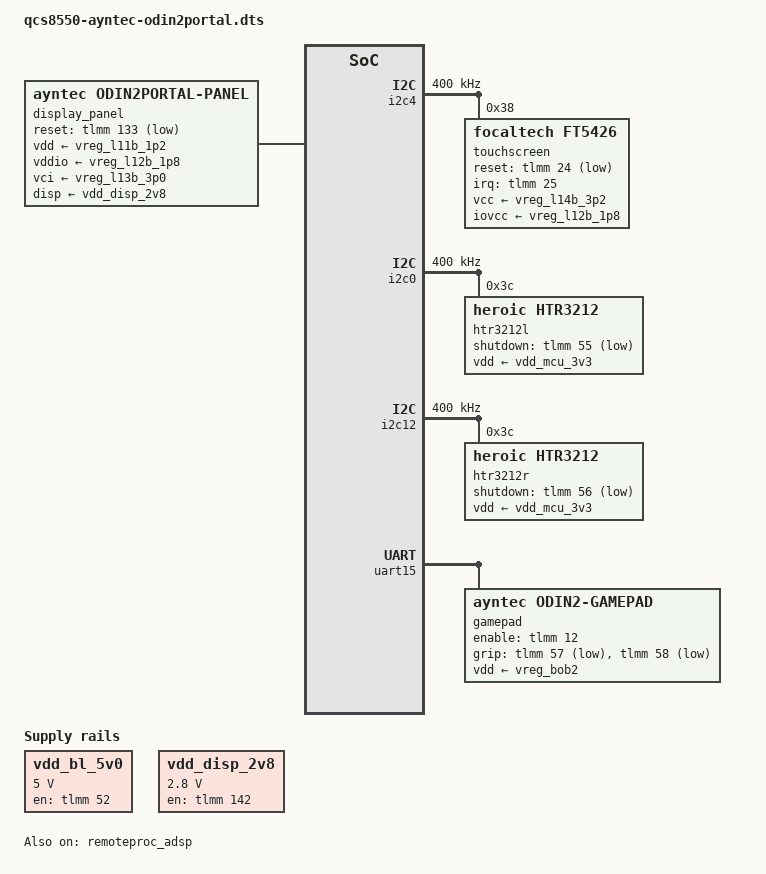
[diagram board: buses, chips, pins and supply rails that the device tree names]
// SPDX-License-Identifier: BSD-3-Clause
/*
 * Copyright (c) 2025, Teguh Sobirin.
 */

/dts-v1/;

#include <dt-bindings/gpio/gpio.h>
#include <dt-bindings/interrupt-controller/irq.h>
#include <dt-bindings/input/qcom,hv-haptics.h>
#include "qcs8550-ayntec-common.dtsi"

&{/} {
	model = "AYN Odin 2 Portal";
	compatible = "ayntec,odin2portal", "qcom,qcs8550", "qcom,sm8550";

	vdd_bl_5v0: vdd-bl-5v0-regulator {
		compatible = "regulator-fixed";
		regulator-name = "vdd_bl_5v0";

		regulator-min-microvolt = <5000000>;
		regulator-max-microvolt = <5000000>;

		gpio = <&tlmm 52 GPIO_ACTIVE_HIGH>;
		enable-active-high;
	};

	vdd_disp_2v8: vdd-disp-2v8-regulator {
		compatible = "regulator-fixed";
		regulator-name = "vdd_disp_2v8";

		regulator-min-microvolt = <2800000>;
		regulator-max-microvolt = <2800000>;

		gpio = <&tlmm 142 GPIO_ACTIVE_HIGH>;
		enable-active-high;
	};
};

&display_panel {
	compatible = "ayntec,odin2portal-panel", "chipone,icna3512";

	pinctrl-0 = <&dsi_p_rst_active>, <&dsi_p_te_active>;
	pinctrl-1 = <&dsi_p_rst_suspend>, <&dsi_p_te_suspend>;
	pinctrl-names = "default", "sleep";

	vdd-supply = <&vreg_l11b_1p2>;
	vddio-supply = <&vreg_l12b_1p8>;
	vci-supply = <&vreg_l13b_3p0>;
	disp-supply = <&vdd_disp_2v8>;
	blvdd-supply = <&vdd_bl_5v0>;

	reset-gpios = <&tlmm 133 GPIO_ACTIVE_LOW>;

	rotation = <270>;
};

&i2c4 {
	clock-frequency = <400000>;

	status = "okay";

	touchscreen@38 {
		compatible = "focaltech,ft5426";
		reg = <0x38>;

		interrupt-parent = <&tlmm>;
		interrupts = <25 IRQ_TYPE_EDGE_FALLING>;

		reset-gpios = <&tlmm 24 GPIO_ACTIVE_LOW>;

		vcc-supply = <&vreg_l14b_3p2>;
		iovcc-supply = <&vreg_l12b_1p8>;

		pinctrl-0 = <&ts_p_rst_default &ts_p_int_default>;
		pinctrl-1 = <&ts_p_rst_sleep &ts_p_int_sleep>;
		pinctrl-names = "default", "sleep";

		touchscreen-size-x = <1080>;
		touchscreen-size-y = <1920>;
		touchscreen-swapped-x-y;
		touchscreen-inverted-y;
	};
};

&remoteproc_adsp {
	firmware-name = "qcom/sm8550/ayntec/odin2portal/adsp.mbn",
			"qcom/sm8550/ayntec/odin2portal/adsp_dtb.mbn";

	status = "okay";
};

&spk_amp_l {
	firmware-name = "qcom/sm8550/ayntec/odin2portal/aw883xx_acf.bin";
};

&spk_amp_r {
	firmware-name = "qcom/sm8550/ayntec/odin2portal/aw883xx_acf.bin";
};


/* Portal hardware: joystick LEDs (upstream draft), rumble (carried), gamepad (upstream draft), internal microphone. */
&{/} {
	multi-ledr1 {
		compatible = "leds-group-multicolor";
		color = <LED_COLOR_ID_RGB>;
		function = "r1";
		leds = <&ledr_r4>, <&ledr_g4>, <&ledr_b4>;
	};
	multi-ledl1 {
		compatible = "leds-group-multicolor";
		color = <LED_COLOR_ID_RGB>;
		function = "l1";
		leds = <&ledl_r4>, <&ledl_g4>, <&ledl_b4>;
	};
	multi-ledr2 {
		compatible = "leds-group-multicolor";
		color = <LED_COLOR_ID_RGB>;
		function = "r2";
		leds = <&ledr_r1>, <&ledr_g1>, <&ledr_b1>;
	};
	multi-ledl2 {
		compatible = "leds-group-multicolor";
		color = <LED_COLOR_ID_RGB>;
		function = "l2";
		leds = <&ledl_r1>, <&ledl_g1>, <&ledl_b1>;
	};
	multi-ledr3 {
		compatible = "leds-group-multicolor";
		color = <LED_COLOR_ID_RGB>;
		function = "r3";
		leds = <&ledr_r2>, <&ledr_g2>, <&ledr_b2>;
	};
	multi-ledl3 {
		compatible = "leds-group-multicolor";
		color = <LED_COLOR_ID_RGB>;
		function = "l3";
		leds = <&ledl_r2>, <&ledl_g2>, <&ledl_b2>;
	};
	multi-ledr4 {
		compatible = "leds-group-multicolor";
		color = <LED_COLOR_ID_RGB>;
		function = "r4";
		leds = <&ledr_r3>, <&ledr_g3>, <&ledr_b3>;
	};
	multi-ledl4 {
		compatible = "leds-group-multicolor";
		color = <LED_COLOR_ID_RGB>;
		function = "l4";
		leds = <&ledl_r3>, <&ledl_g3>, <&ledl_b3>;
	};
};

&i2c0 {
	clock-frequency = <400000>;
	status = "okay";

	htr3212l: led-controller@3c {
		compatible = "heroic,htr3212";
		reg = <0x3c>;
		#address-cells = <1>;
		#size-cells = <0>;
		shutdown-gpios = <&tlmm 55 GPIO_ACTIVE_LOW>;
		issi,22khz-pwm;
		vdd-supply = <&vdd_mcu_3v3>;

		ledl_b1: led@1 {
			reg = <1>;
			label = "l:r1";
			color = <LED_COLOR_ID_RED>;
		};
		ledl_g1: led@2 {
			reg = <2>;
			label = "l:g1";
			color = <LED_COLOR_ID_GREEN>;
		};
		ledl_r1: led@3 {
			reg = <3>;
			label = "l:b1";
			color = <LED_COLOR_ID_BLUE>;
		};
		ledl_b2: led@4 {
			reg = <4>;
			label = "l:r2";
			color = <LED_COLOR_ID_RED>;
		};
		ledl_g2: led@5 {
			reg = <5>;
			label = "l:g2";
			color = <LED_COLOR_ID_GREEN>;
		};
		ledl_r2: led@6 {
			reg = <6>;
			label = "l:b2";
			color = <LED_COLOR_ID_BLUE>;
		};
		ledl_b3: led@7 {
			reg = <7>;
			label = "l:r3";
			color = <LED_COLOR_ID_RED>;
		};
		ledl_g3: led@8 {
			reg = <8>;
			label = "l:g3";
			color = <LED_COLOR_ID_GREEN>;
		};
		ledl_r3: led@9 {
			reg = <9>;
			label = "l:b3";
			color = <LED_COLOR_ID_BLUE>;
		};
		ledl_b4: led@10 {
			reg = <10>;
			label = "l:r4";
			color = <LED_COLOR_ID_RED>;
		};
		ledl_g4: led@11 {
			reg = <11>;
			label = "l:g4";
			color = <LED_COLOR_ID_GREEN>;
		};
		ledl_r4: led@12 {
			reg = <12>;
			label = "l:b4";
			color = <LED_COLOR_ID_BLUE>;
		};
	};
};

&i2c12 {
	clock-frequency = <400000>;
	status = "okay";

	htr3212r: led-controller@3c {
		compatible = "heroic,htr3212";
		reg = <0x3c>;
		#address-cells = <1>;
		#size-cells = <0>;
		shutdown-gpios = <&tlmm 56 GPIO_ACTIVE_LOW>;
		issi,22khz-pwm;
		vdd-supply = <&vdd_mcu_3v3>;

		ledr_b1: led@1 {
			reg = <1>;
			label = "r:r1";
			color = <LED_COLOR_ID_RED>;
		};
		ledr_g1: led@2 {
			reg = <2>;
			label = "r:g1";
			color = <LED_COLOR_ID_GREEN>;
		};
		ledr_r1: led@3 {
			reg = <3>;
			label = "r:b1";
			color = <LED_COLOR_ID_BLUE>;
		};
		ledr_b2: led@4 {
			reg = <4>;
			label = "r:r2";
			color = <LED_COLOR_ID_RED>;
		};
		ledr_g2: led@5 {
			reg = <5>;
			label = "r:g2";
			color = <LED_COLOR_ID_GREEN>;
		};
		ledr_r2: led@6 {
			reg = <6>;
			label = "r:b2";
 			color = <LED_COLOR_ID_BLUE>;
		};
		ledr_b3: led@7 {
			reg = <7>;
			label = "r:r3";
			color = <LED_COLOR_ID_RED>;
		};
		ledr_g3: led@8 {
			reg = <8>;
			label = "r:g3";
			color = <LED_COLOR_ID_GREEN>;
		};
		ledr_r3: led@9 {
			reg = <9>;
			label = "r:b3";
			color = <LED_COLOR_ID_BLUE>;
		};
		ledr_b4: led@10 {
			reg = <10>;
			label = "r:r4";
			color = <LED_COLOR_ID_RED>;
		};
		ledr_g4: led@11 {
			reg = <11>;
			label = "r:g4";
			color = <LED_COLOR_ID_GREEN>;
		};
		ledr_r4: led@12 {
			reg = <12>;
			label = "r:b4";
			color = <LED_COLOR_ID_BLUE>;
		};
	};
};

&pmk8550 {
	pmk8550_sdam_9d00: nvram@9d00 {
		compatible = "qcom,spmi-sdam";
		reg = <0x9d00>;
	};
};

&pm8550b {
	pm8550b_hv_haptics: qcom,hv-haptics@f000 {
		compatible = "qcom,hv-haptics";
		reg = <0xf000>, <0xf100>, <0xf200>;
		interrupts = <0x07 0xf0 0x1 IRQ_TYPE_EDGE_RISING>;
		interrupt-names = "fifo-empty";
		qcom,vmax-mv = <5000>;
		qcom,brake-mode = <BRAKE_CLOSE_LOOP>;
		qcom,brake-pattern = /bits/ 8 <0xff 0x3f 0x1f>;
		qcom,lra-period-us = <5880>;
		qcom,drv-sig-shape = <WF_SINE>;
		qcom,brake-sig-shape = <WF_SINE>;
		qcom,use-erm = <0x01>;
		nvmem-names = "hap_cfg_sdam";
		nvmem = <&pmk8550_sdam_9d00>;
		status = "okay";

		hap_swr_slave_reg: qcom,hap-swr-slave-reg {
			regulator-name = "hap-swr-slave-reg";
		};

		effect_0 {
			qcom,effect-id = <0x00>;
			/* qcom,wf-auto-res-disable; */
			qcom,wf-brake-pattern = /bits/ 8 <0x0 0x0 0x0>;
			qcom,wf-pattern-data =  <0x15f 0x00 0x00>,
						<0x17f 0x00 0x00>,
						<0x19f 0x00 0x00>,
						<0x1df 0x00 0x00>,
						<0x1df 0x00 0x00>,
						<0x19f 0x00 0x00>,
						<0x17f 0x00 0x00>,
						<0x15f 0x00 0x00>;
			qcom,wf-pattern-period-us = <5880>;
			qcom,wf-vmax-mv = <5000>;
		};

		effect_1 {
			qcom,effect-id = <0x01>;
			/* qcom,wf-auto-res-disable; */
			qcom,wf-brake-pattern = /bits/ 8 <0x0 0x0 0x0>;
			qcom,wf-pattern-data =  <0x01f 0x00 0x00>,
						<0x03f 0x00 0x00>,
						<0x05f 0x00 0x00>,
						<0x07f 0x00 0x00>,
						<0x17f 0x00 0x00>,
						<0x15f 0x00 0x00>,
						<0x13f 0x00 0x00>,
						<0x11f 0x00 0x00>;
			qcom,wf-pattern-period-us = <5880>;
			qcom,wf-vmax-mv = <3200>;
		};

		effect_2 {
			qcom,effect-id = <0x02>;
			/* qcom,wf-auto-res-disable; */
			qcom,wf-brake-pattern = /bits/ 8 <0x0 0x0 0x0>;
			qcom,wf-pattern-data =  <0x01f 0x00 0x00>,
						<0x03f 0x00 0x00>,
						<0x05f 0x00 0x00>,
						<0x07f 0x00 0x00>,
						<0x17f 0x00 0x00>,
						<0x15f 0x00 0x00>,
						<0x13f 0x00 0x00>,
						<0x11f 0x00 0x00>;
			qcom,wf-pattern-period-us = <5880>;
			qcom,wf-vmax-mv = <3200>;
		};

		effect_3 {
			qcom,effect-id = <0x03>;
			/* qcom,wf-auto-res-disable; */
			qcom,wf-brake-pattern = /bits/ 8 <0x0 0x0 0x0>;
			qcom,wf-pattern-data =  <0x01f 0x00 0x00>,
						<0x03f 0x00 0x00>,
						<0x05f 0x00 0x00>,
						<0x07f 0x00 0x00>,
						<0x17f 0x00 0x00>,
						<0x15f 0x00 0x00>,
						<0x13f 0x00 0x00>,
						<0x11f 0x00 0x00>;
			qcom,wf-pattern-period-us = <5880>;
			qcom,wf-vmax-mv = <3200>;
		};

		effect_4 {
			qcom,effect-id = <0x04>;
			/* qcom,wf-auto-res-disable; */
			qcom,wf-brake-pattern = /bits/ 8 <0x0 0x0 0x0>;
			qcom,wf-pattern-data =  <0x01f 0x00 0x00>,
						<0x03f 0x00 0x00>,
						<0x05f 0x00 0x00>,
						<0x07f 0x00 0x00>,
						<0x17f 0x00 0x00>,
						<0x15f 0x00 0x00>,
						<0x13f 0x00 0x00>,
						<0x11f 0x00 0x00>;
			qcom,wf-pattern-period-us = <5880>;
			qcom,wf-vmax-mv = <3200>;
		};

		effect_5 {
			qcom,effect-id = <0x05>;
			/* qcom,wf-auto-res-disable; */
			qcom,wf-brake-pattern = /bits/ 8 <0x0 0x0 0x0>;
			qcom,wf-pattern-data =  <0x11f 0x00 0x00>,
						<0x13f 0x00 0x00>,
						<0x15f 0x00 0x00>,
						<0x17f 0x00 0x00>,
						<0x17f 0x00 0x00>,
						<0x15f 0x00 0x00>,
						<0x13f 0x00 0x00>,
						<0x11f 0x00 0x00>;
			qcom,wf-pattern-period-us = <5880>;
			qcom,wf-vmax-mv = <5000>;
		};

		primitive_0 {
			qcom,primitive-id = <0x00>;
			qcom,wf-auto-res-disable;
			qcom,wf-brake-pattern = /bits/ 8 <0x0 0x0 0x0>;
			qcom,wf-pattern-data = <0x00 0x00 0x00 0x00 0x00 0x00>;
			qcom,wf-pattern-period-us = <5880>;
			qcom,wf-vmax-mv = <2400>;
		};

		primitive_1 {
			qcom,primitive-id = <0x01>;
			qcom,wf-auto-res-disable;
			qcom,wf-brake-pattern = /bits/ 8 <0x0 0x0 0x0>;
			qcom,wf-pattern-data = <0xff 0x00 0x00 0x7f 0x00 0x00>;
			qcom,wf-pattern-period-us = <5880>;
			qcom,wf-vmax-mv = <2400>;
		};

		primitive_2 {
			qcom,primitive-id = <0x02>;
			qcom,wf-auto-res-disable;
			qcom,wf-brake-pattern = /bits/ 8 <0x0 0x0 0x0>;
			qcom,wf-pattern-data = <0xff 0x00 0x00 0x7f 0x00 0x00>;
			qcom,wf-pattern-period-us = <5880>;
			qcom,wf-vmax-mv = <2400>;
		};

		primitive_3 {
			qcom,primitive-id = <0x03>;
			qcom,wf-auto-res-disable;
			qcom,wf-brake-pattern = /bits/ 8 <0x0 0x0 0x0>;
			qcom,wf-pattern-data = <0xff 0x00 0x00 0x7f 0x00 0x00>;
			qcom,wf-pattern-period-us = <5880>;
			qcom,wf-vmax-mv = <2400>;
		};

		primitive_4 {
			qcom,primitive-id = <0x04>;
			qcom,wf-auto-res-disable;
			qcom,wf-brake-pattern = /bits/ 8 <0x0 0x0 0x0>;
			qcom,wf-pattern-data = <0xff 0x00 0x00 0x7f 0x00 0x00>;
			qcom,wf-pattern-period-us = <5880>;
			qcom,wf-vmax-mv = <2400>;
		};

		primitive_5 {
			qcom,primitive-id = <0x05>;
			qcom,wf-auto-res-disable;
			qcom,wf-brake-pattern = /bits/ 8 <0x0 0x0 0x0>;
			qcom,wf-pattern-data = <0xff 0x00 0x00 0x7f 0x00 0x00>;
			qcom,wf-pattern-period-us = <5880>;
			qcom,wf-vmax-mv = <2400>;
		};

		primitive_6 {
			qcom,primitive-id = <0x06>;
			qcom,wf-auto-res-disable;
			qcom,wf-brake-pattern = /bits/ 8 <0x0 0x0 0x0>;
			qcom,wf-pattern-data = <0xff 0x00 0x00 0x7f 0x00 0x00>;
			qcom,wf-pattern-period-us = <5880>;
			qcom,wf-vmax-mv = <2400>;
		};

		primitive_7 {
			qcom,primitive-id = <0x07>;
			qcom,wf-auto-res-disable;
			qcom,wf-brake-pattern = /bits/ 8 <0x0 0x0 0x0>;
			qcom,wf-pattern-data = <0xff 0x00 0x00 0x7f 0x00 0x00>;
			qcom,wf-pattern-period-us = <5880>;
			qcom,wf-vmax-mv = <2400>;
		};

		primitive_8 {
			qcom,primitive-id = <0x08>;
			qcom,wf-auto-res-disable;
			qcom,wf-brake-pattern = /bits/ 8 <0x0 0x0 0x0>;
			qcom,wf-pattern-data = <0xff 0x00 0x00 0x7f 0x00 0x00>;
			qcom,wf-pattern-period-us = <5880>;
			qcom,wf-vmax-mv = <2400>;
		};
	};
};

&uart15 {
	status = "okay";

	gamepad: mcu {
		compatible = "ayntec,odin2-gamepad";

		vdd-supply = <&vreg_bob2>;
		enable-gpios = <&tlmm 12 GPIO_ACTIVE_HIGH>;
		grip-gpios = <&tlmm 57 GPIO_ACTIVE_LOW>,
			     <&tlmm 58 GPIO_ACTIVE_LOW>;
		pinctrl-0 = <&mcu_en_active>, <&grip_keys_default>;
		pinctrl-names = "default";
	};
};

&{/sound} {
	audio-routing = "IN1_HPHL", "HPHL_OUT",
			"IN2_HPHR", "HPHR_OUT",
			"AMIC2", "MIC BIAS2",
			"TX SWR_INPUT1", "ADC2_OUTPUT",
			"DMIC3", "MIC BIAS3",
			"TX SWR_INPUT7", "DMIC3_OUTPUT";
};

&tlmm {
	grip_keys_default: grip-keys-default-state {
		pins = "gpio57", "gpio58";
		function = "gpio";
		drive-strength = <2>;
		bias-pull-up;
	};
};
